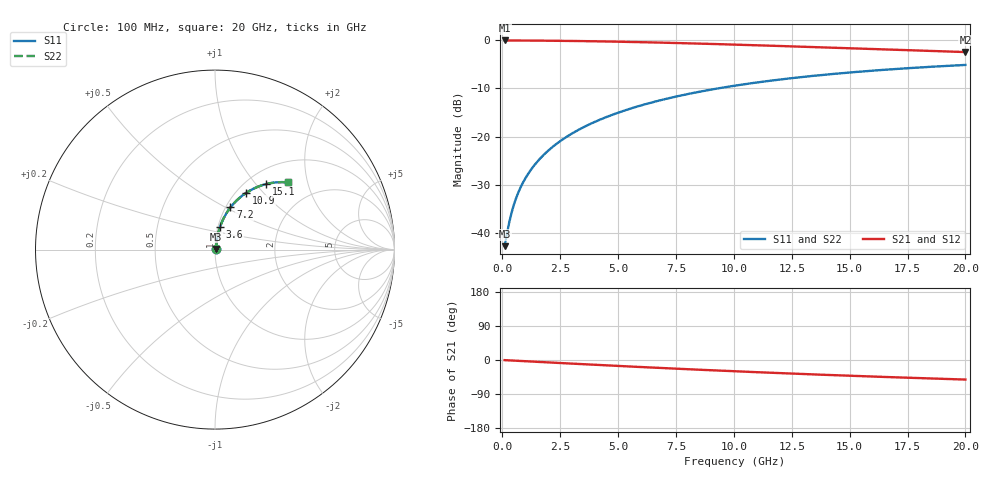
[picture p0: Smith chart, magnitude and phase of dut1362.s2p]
! Touchstone file exported from HFSS 2024.1.0
!  File:  C:/UserFiles/LocalFiles/RDL_TSV_Batchsim/temp_RDL_top_1362_1780366642.aedt
!  Generated:  10:19:34 AM Jun  2, 2026
!  Design:  RDL_top
!  Project:  temp_RDL_top_1362_1780366642
!  Setup:  Setup1
!  Solution:  Sweep
! Variables:
!  dtsv = 10.80580581um
!  hbump = 3um
!  htsv = 65.43um
!  ldown = 100um
!  lrdl = 650.84um
!  p = 40
!  p1 = 59.55um
!  rhole = 1um
!  t = 450um
!  tdown = 3.915915916um
!  trdl = 2.7um
!  wdown = 15.38538539um
!  wrdl = 13.69um
# GHz S MA R 50.000000
! Terminal data exported
! Port[1] = Box2_T1
! Port[2] = Box2_T2
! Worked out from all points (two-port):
!   200 points, 100 MHz to 20 GHz, reference 50 ohm
!   highest |S21| = -0.05 dB at 100 MHz (marker M1); lowest = -2.5 dB at 20 GHz (marker M2)
!   |S21| within 3 dB of the highest: start of sweep to end of sweep
!   lowest |S11| = -42.7 dB at 100 MHz (marker M3), VSWR 1.01, Z = 50.6 + j0.378 ohm
!   |S11| at or under -10 dB: start of sweep to 9.306 GHz
!   |S22| runs from -42.7 to -5.1 dB; largest |S21 - S12| = 3.2e-15
!   S11 on the Smith chart (normalised r, x): 100 MHz: 1.01, +0.01; 3.6 GHz: 1.02, +0.26; 7.2 GHz: 1.05, +0.53; 10.9 GHz: 1.11, +0.81; 15.1 GHz: 1.22, +1.14; 20 GHz: 1.41, +1.53
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0.1  0.007331 30.6  0.9937 -0.3  0.9937 -0.3  0.007331 30.6
! Gamma 0 0 0 0
! Port Impedance 50 0 50 0
0.3  0.01294 59.3  0.9934 -1.0  0.9934 -1.0  0.01294 59.3
0.4  0.01628 65.2  0.9932 -1.3  0.9932 -1.3  0.01628 65.2
0.5  0.01971 68.9  0.993 -1.6  0.993 -1.6  0.01971 68.9
0.6  0.02318 71.4  0.9928 -2.0  0.9928 -2.0  0.02318 71.4
0.8  0.03015 74.5  0.9922 -2.6  0.9922 -2.6  0.03015 74.5
1.1  0.04064 77.0  0.9913 -3.6  0.9913 -3.6  0.04065 77.0
1.5  0.05467 78.4  0.9899 -4.8  0.9899 -4.8  0.05467 78.4
2.1  0.07579 79.0  0.9873 -6.7  0.9873 -6.7  0.07579 79.0
2.7  0.09692 78.7  0.9839 -8.6  0.9839 -8.6  0.09692 78.7
3.5  0.125 77.7  0.9784 -11.1  0.9784 -11.1  0.125 77.7
3.6  0.1285 77.5  0.9776 -11.4  0.9776 -11.4  0.1285 77.5
5  0.1771 74.8  0.9649 -15.7  0.9649 -15.7  0.1771 74.8
6.8  0.2376 70.8  0.9444 -20.9  0.9444 -20.9  0.2376 70.8
7.2  0.2507 69.9  0.9393 -22.1  0.9393 -22.1  0.2507 69.8
8.6  0.2949 66.5  0.9205 -25.9  0.9205 -25.9  0.2948 66.5
10.1  0.3394 63.0  0.899 -29.9  0.899 -29.9  0.3394 63.0
10.9  0.3619 61.1  0.8871 -31.9  0.8871 -31.9  0.3619 61.1
13.4  0.4262 55.5  0.8492 -37.9  0.8492 -37.9  0.4262 55.5
15.1  0.4647 51.9  0.8235 -41.7  0.8235 -41.7  0.4647 51.9
16.7  0.4973 48.6  0.7997 -45.1  0.7997 -45.1  0.4972 48.6
20  0.5541 42.5  0.7532 -51.6  0.7532 -51.6  0.554 42.5
